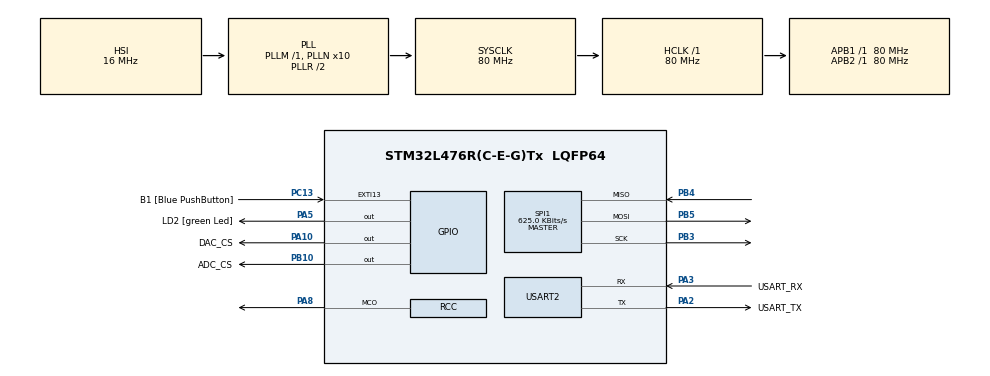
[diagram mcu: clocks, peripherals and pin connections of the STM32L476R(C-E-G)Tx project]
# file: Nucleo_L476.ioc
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Dma.Request0=USART2_RX
Dma.Request1=USART2_TX
Dma.USART2_RX.0.Direction=DMA_PERIPH_TO_MEMORY
Dma.USART2_RX.0.Instance=DMA1_Channel6
Dma.USART2_RX.0.MemDataAlignment=DMA_MDATAALIGN_BYTE
Dma.USART2_RX.0.MemInc=DMA_MINC_ENABLE
Dma.USART2_RX.0.Mode=DMA_NORMAL
Dma.USART2_RX.0.PeriphDataAlignment=DMA_PDATAALIGN_BYTE
Dma.USART2_RX.0.PeriphInc=DMA_PINC_DISABLE
Dma.USART2_RX.0.Priority=DMA_PRIORITY_LOW
Dma.USART2_TX.1.Direction=DMA_MEMORY_TO_PERIPH
Dma.USART2_TX.1.Instance=DMA1_Channel7
Dma.USART2_TX.1.MemDataAlignment=DMA_MDATAALIGN_BYTE
Dma.USART2_TX.1.MemInc=DMA_MINC_ENABLE
Dma.USART2_TX.1.Mode=DMA_NORMAL
Dma.USART2_TX.1.PeriphDataAlignment=DMA_PDATAALIGN_BYTE
Dma.USART2_TX.1.PeriphInc=DMA_PINC_DISABLE
Dma.USART2_TX.1.Priority=DMA_PRIORITY_LOW
Mcu.Family=STM32L4
Mcu.Name=STM32L476R(C-E-G)Tx
Mcu.Package=LQFP64
NVIC.DMA1_Channel6_IRQn=true\:0\:0\:false\:false\:true\:false\:true\:true
NVIC.DMA1_Channel7_IRQn=true\:0\:0\:false\:false\:true\:false\:true\:true
NVIC.PriorityGroup=NVIC_PRIORITYGROUP_4
NVIC.SPI1_IRQn=true\:0\:0\:false\:false\:true\:true\:true\:true
NVIC.TIM1_TRG_COM_TIM17_IRQn=true\:15\:0\:false\:false\:true\:false\:true\:true
NVIC.TIM8_BRK_IRQn=true\:0\:0\:false\:false\:true\:true\:true\:true
NVIC.TIM8_CC_IRQn=true\:0\:0\:false\:false\:true\:true\:true\:true
NVIC.TIM8_TRG_COM_IRQn=true\:0\:0\:false\:false\:true\:true\:true\:true
NVIC.TIM8_UP_IRQn=true\:0\:0\:false\:false\:true\:true\:true\:true
NVIC.TimeBase=TIM1_TRG_COM_TIM17_IRQn
NVIC.TimeBaseIP=TIM17
NVIC.USART2_IRQn=true\:0\:0\:false\:false\:true\:true\:true\:true
PA10.GPIO_Label=DAC_CS
PA10.GPIO_ModeDefaultOutputPP=GPIO_MODE_OUTPUT_PP
PA10.GPIO_PuPd=GPIO_PULLUP
PA10.GPIO_Speed=GPIO_SPEED_FREQ_VERY_HIGH
PA10.PinState=GPIO_PIN_SET
PA10.Signal=GPIO_Output
PA13\ (JTMS-SWDIO).GPIO_Label=TMS
PA13\ (JTMS-SWDIO).Mode=Serial_Wire
PA13\ (JTMS-SWDIO).Signal=SYS_JTMS-SWDIO
PA14\ (JTCK-SWCLK).GPIO_Label=TCK
PA14\ (JTCK-SWCLK).Mode=Serial_Wire
PA14\ (JTCK-SWCLK).Signal=SYS_JTCK-SWCLK
PA2.GPIO_Label=USART_TX
PA2.GPIO_Mode=GPIO_MODE_AF_PP
PA2.GPIO_PuPd=GPIO_NOPULL
PA2.GPIO_Speed=GPIO_SPEED_FREQ_VERY_HIGH
PA2.Mode=Asynchronous
PA2.Signal=USART2_TX
PA3.GPIO_Label=USART_RX
PA3.GPIO_Mode=GPIO_MODE_AF_PP
PA3.GPIO_PuPd=GPIO_NOPULL
PA3.GPIO_Speed=GPIO_SPEED_FREQ_VERY_HIGH
PA3.Mode=Asynchronous
PA3.Signal=USART2_RX
PA5.GPIO_Label=LD2 [green Led]
PA5.GPIO_ModeDefaultOutputPP=GPIO_MODE_OUTPUT_PP
PA5.GPIO_PuPd=GPIO_NOPULL
PA5.GPIO_Speed=GPIO_SPEED_FREQ_LOW
PA5.Signal=GPIO_Output
PA8.GPIO_Speed=GPIO_SPEED_FREQ_VERY_HIGH
PA8.Mode=Clock-out
PA8.Signal=RCC_MCO
PB10.GPIO_Label=ADC_CS
PB10.GPIO_PuPd=GPIO_PULLUP
PB10.GPIO_Speed=GPIO_SPEED_FREQ_VERY_HIGH
PB10.PinState=GPIO_PIN_SET
PB10.Signal=GPIO_Output
PB3\ (JTDO-TRACESWO).Mode=Full_Duplex_Master
PB3\ (JTDO-TRACESWO).Signal=SPI1_SCK
PB4\ (NJTRST).Mode=Full_Duplex_Master
PB4\ (NJTRST).Signal=SPI1_MISO
PB5.Mode=Full_Duplex_Master
PB5.Signal=SPI1_MOSI
PC13.GPIO_Label=B1 [Blue PushButton]
PC13.GPIO_ModeDefaultEXTI=GPIO_MODE_IT_FALLING
PC13.GPIO_PuPd=GPIO_NOPULL
PC13.Signal=GPXTI13
PC14-OSC32_IN\ (PC14).Mode=LSE-External-Oscillator
PC14-OSC32_IN\ (PC14).Signal=RCC_OSC32_IN
PC15-OSC32_OUT\ (PC15).Mode=LSE-External-Oscillator
PC15-OSC32_OUT\ (PC15).Signal=RCC_OSC32_OUT
PH0-OSC_IN\ (PH0).Signal=RCC_OSC_IN
PH1-OSC_OUT\ (PH1).Signal=RCC_OSC_OUT
ProjectManager.HeapSize=0x200
ProjectManager.StackSize=0x400
ProjectManager.TargetToolchain=STM32CubeIDE
RCC.ADCFreq_Value=64000000
RCC.AHBFreq_Value=80000000
RCC.APB1Freq_Value=80000000
RCC.APB1TimFreq_Value=80000000
RCC.APB2Freq_Value=80000000
RCC.APB2TimFreq_Value=80000000
RCC.CK48CLockSelection=RCC_USBCLKSOURCE_MSI
RCC.CortexFreq_Value=80000000
RCC.HCLKFreq_Value=80000000
RCC.HSE_VALUE=8000000
RCC.HSI_VALUE=16000000
RCC.MSI_VALUE=4000000
RCC.PLLN=10
RCC.PLLSourceVirtual=RCC_PLLSOURCE_HSI
RCC.PREFETCH_ENABLE=1
RCC.RCC_MCO1Source=RCC_MCO1SOURCE_HSI
RCC.RCC_MCODiv=RCC_MCODIV_8
RCC.SYSCLKFreq_VALUE=80000000
RCC.SYSCLKSource=RCC_SYSCLKSOURCE_PLLCLK
RCC.USBFreq_Value=4000000
RCC.VCOOutputFreq_Value=160000000
SPI1.BaudRatePrescaler=SPI_BAUDRATEPRESCALER_128
SPI1.CLKPhase=SPI_PHASE_2EDGE
SPI1.CLKPolarity=SPI_POLARITY_HIGH
SPI1.CalculateBaudRate=625.0 KBits/s
SPI1.DataSize=SPI_DATASIZE_8BIT
SPI1.Direction=SPI_DIRECTION_2LINES
SPI1.Mode=SPI_MODE_MASTER
SPI1.VirtualType=VM_MASTER
TIM8.Period=1200-1
TIM8.Prescaler=80-1
USART2.VirtualMode-Asynchronous=VM_ASYNC
VP_CRC_VS_CRC.Mode=CRC_Activate
VP_RNG_VS_RNG.Mode=RNG_Activate
VP_SYS_VS_tim17.Mode=TIM17
VP_TIM8_VS_ClockSourceINT.Mode=Internal
board=NUCLEO-L476RG

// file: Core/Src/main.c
/* USER CODE BEGIN Header */
/**
  ******************************************************************************
  * @file           : main.c
  * @brief          : Main program body
  ******************************************************************************
  * @attention
  *
  * Copyright (c) 2025 STMicroelectronics.
  * All rights reserved.
  *
  * This software is licensed under terms that can be found in the LICENSE file
  * in the root directory of this software component.
  * If no LICENSE file comes with this software, it is provided AS-IS.
  *
  ******************************************************************************
  */
/* USER CODE END Header */
#include "main.h"

/* USER CODE BEGIN Includes */
#include "mcp3462.h"
#include "mcp4922.h"
#include "optics.h"
#include "logging.h"
#include <stdio.h>
#include <stdbool.h>
#include <string.h>
#include <util.h>
/* USER CODE END Includes */

/* USER CODE BEGIN PD */
#define BUFFER_SIZE 128

/* USER CODE END PD */

CRC_HandleTypeDef hcrc;

RNG_HandleTypeDef hrng;

SPI_HandleTypeDef hspi1;

TIM_HandleTypeDef htim8;

UART_HandleTypeDef huart2;
DMA_HandleTypeDef hdma_usart2_rx;
DMA_HandleTypeDef hdma_usart2_tx;

void SystemClock_Config(void);
static void MX_GPIO_Init(void);
static void MX_DMA_Init(void);
static void MX_USART2_UART_Init(void);
static void MX_SPI1_Init(void);
static void MX_CRC_Init(void);
static void MX_RNG_Init(void);
static void MX_TIM8_Init(void);

int main(void)
{

  /* USER CODE BEGIN 1 */
  uint16_t data_len;
  uint8_t* ptrBuffer;
  /* USER CODE END 1 */

  /* MCU Configuration--------------------------------------------------------*/

  /* Reset of all peripherals, Initializes the Flash interface and the Systick. */
  HAL_Init();

  /* Configure the system clock */
  SystemClock_Config();

  /* Initialize all configured peripherals */
  MX_GPIO_Init();
  MX_DMA_Init();
  MX_USART2_UART_Init();
  MX_SPI1_Init();
  MX_CRC_Init();
  MX_RNG_Init();
  MX_TIM8_Init();
  /* USER CODE BEGIN 2 */
  DWT_Init();
  init_dma_logging();
  printf("\033c");
  printf("MCP3462 Demo\r\n\r\n");
  printf("CPU Clock Frequency: %lu MHz\r\n", HAL_RCC_GetSysClockFreq() / 1000000);

  optics_init();
  optics_startLaser_byMask(1, 50);
  optics_clearBuffer_byMask(1);
  optics_adcStart(1);

  HAL_TIM_Base_Start_IT(&htim8);

  HAL_Delay(120);

  HAL_TIM_Base_Stop_IT(&htim8);

  optics_getBuffer_byMask(1, &ptrBuffer, &data_len);

  printf("\r\n=== ADC Sample Results ===\r\n");
  printf("Total bytes captured: %d\r\n", data_len);
  printf("Sample count: %d\r\n\r\n", data_len / 2);

  const float vref = 3.3f;  // External VREF voltage
  const int32_t adc_max = 32768;  // 2^15 for 16-bit signed

  for(int i = 0; i < data_len; i += 2)
  {
	  if (i + 1 < data_len) {
		  uint16_t sample = (ptrBuffer[i] << 8) | ptrBuffer[i+1];
		  int16_t signed_sample = (int16_t)sample;
		  float voltage = ((float)signed_sample * vref) / (float)adc_max;
		  printf("Sample %3d: 0x%04X (%6d) = %+7.4f V\r\n", i/2, sample, signed_sample, voltage);
	  }
  }

#if 0
  adc_handle.hspi = &hspi1;
  adc_handle.cs_port = ADC_CS_GPIO_Port;
  adc_handle.cs_pin = ADC_CS_Pin;
  adc_handle.dev_addr = 1;

  dac_handle.cs_port = DAC_CS_GPIO_Port;
  dac_handle.cs_pin = DAC_CS_Pin;
  dac_handle.ldac_port = NULL;
  dac_handle.ldac_pin = 0;
  dac_handle.shdn_port = NULL;
  dac_handle.shdn_pin = 0;
  dac_handle.vref_mV = 3300;
  dac_handle.hspi = &hspi1;

  HAL_StatusTypeDef st;

  MCP3462_Init(&adc_handle);
  MCP4922_Init(&dac_handle);

  // Initialize DAC to 0V
  st = MCP4922_WriteRaw(&dac_handle,
  					     0,
                         MCP4922_BUF_OFF,
                         MCP4922_GAIN_1X,
                         MCP4922_ACTIVE,
						 dac_value);
#endif

  /* USER CODE END 2 */

  /* Infinite loop */
  while (1)
  {

    /* USER CODE BEGIN 3 */

#if USE_ONE_SHOT
	// Start a new conversion in one-shot mode
	st = MCP3462_FastCommand(&adc_handle, MCP3462_FC_CONV_START);
	if (st != HAL_OK) {
		printf("Failed to start conversion\r\n");
		isADCEnabled = false;
	}
#endif

    HAL_GPIO_TogglePin(LD2_GPIO_Port, LD2_Pin);
    HAL_Delay(500);

#if 0
	// Optional: sweep DAC for testing differential input
	dac_value = (dac_value + 100) % 4096;
	st = MCP4922_WriteRaw(&dac_handle,
						 0,
						 MCP4922_BUF_OFF,
						 MCP4922_GAIN_1X,
						 MCP4922_ACTIVE,
						 dac_value);
#endif
  }
  /* USER CODE END 3 */
}

void SystemClock_Config(void)
{
  RCC_OscInitTypeDef RCC_OscInitStruct = {0};
  RCC_ClkInitTypeDef RCC_ClkInitStruct = {0};

  /** Configure the main internal regulator output voltage
  */
  if (HAL_PWREx_ControlVoltageScaling(PWR_REGULATOR_VOLTAGE_SCALE1) != HAL_OK)
  {
    Error_Handler();
  }

  /** Configure LSE Drive Capability
  */
  HAL_PWR_EnableBkUpAccess();
  __HAL_RCC_LSEDRIVE_CONFIG(RCC_LSEDRIVE_LOW);

  /** Initializes the RCC Oscillators according to the specified parameters
  * in the RCC_OscInitTypeDef structure.
  */
  RCC_OscInitStruct.OscillatorType = RCC_OSCILLATORTYPE_HSI|RCC_OSCILLATORTYPE_LSE
                              |RCC_OSCILLATORTYPE_MSI;
  RCC_OscInitStruct.LSEState = RCC_LSE_ON;
  RCC_OscInitStruct.HSIState = RCC_HSI_ON;
  RCC_OscInitStruct.HSICalibrationValue = RCC_HSICALIBRATION_DEFAULT;
  RCC_OscInitStruct.MSIState = RCC_MSI_ON;
  RCC_OscInitStruct.MSICalibrationValue = 0;
  RCC_OscInitStruct.MSIClockRange = RCC_MSIRANGE_6;
  RCC_OscInitStruct.PLL.PLLState = RCC_PLL_ON;
  RCC_OscInitStruct.PLL.PLLSource = RCC_PLLSOURCE_HSI;
  RCC_OscInitStruct.PLL.PLLM = 1;
  RCC_OscInitStruct.PLL.PLLN = 10;
  RCC_OscInitStruct.PLL.PLLP = RCC_PLLP_DIV7;
  RCC_OscInitStruct.PLL.PLLQ = RCC_PLLQ_DIV2;
  RCC_OscInitStruct.PLL.PLLR = RCC_PLLR_DIV2;
  if (HAL_RCC_OscConfig(&RCC_OscInitStruct) != HAL_OK)
  {
    Error_Handler();
  }

  /** Initializes the CPU, AHB and APB buses clocks
  */
  RCC_ClkInitStruct.ClockType = RCC_CLOCKTYPE_HCLK|RCC_CLOCKTYPE_SYSCLK
                              |RCC_CLOCKTYPE_PCLK1|RCC_CLOCKTYPE_PCLK2;
  RCC_ClkInitStruct.SYSCLKSource = RCC_SYSCLKSOURCE_PLLCLK;
  RCC_ClkInitStruct.AHBCLKDivider = RCC_SYSCLK_DIV1;
  RCC_ClkInitStruct.APB1CLKDivider = RCC_HCLK_DIV1;
  RCC_ClkInitStruct.APB2CLKDivider = RCC_HCLK_DIV1;

  if (HAL_RCC_ClockConfig(&RCC_ClkInitStruct, FLASH_LATENCY_4) != HAL_OK)
  {
    Error_Handler();
  }
  HAL_RCC_MCOConfig(RCC_MCO1, RCC_MCO1SOURCE_HSI, RCC_MCODIV_8);

  /** Enable MSI Auto calibration
  */
  HAL_RCCEx_EnableMSIPLLMode();
}

static void MX_CRC_Init(void)
{

  hcrc.Instance = CRC;
  hcrc.Init.DefaultPolynomialUse = DEFAULT_POLYNOMIAL_ENABLE;
  hcrc.Init.DefaultInitValueUse = DEFAULT_INIT_VALUE_ENABLE;
  hcrc.Init.InputDataInversionMode = CRC_INPUTDATA_INVERSION_NONE;
  hcrc.Init.OutputDataInversionMode = CRC_OUTPUTDATA_INVERSION_DISABLE;
  hcrc.InputDataFormat = CRC_INPUTDATA_FORMAT_BYTES;
  if (HAL_CRC_Init(&hcrc) != HAL_OK)
  {
    Error_Handler();
  }

}

static void MX_RNG_Init(void)
{

  hrng.Instance = RNG;
  if (HAL_RNG_Init(&hrng) != HAL_OK)
  {
    Error_Handler();
  }

}

static void MX_SPI1_Init(void)
{

  /* SPI1 parameter configuration*/
  hspi1.Instance = SPI1;
  hspi1.Init.Mode = SPI_MODE_MASTER;
  hspi1.Init.Direction = SPI_DIRECTION_2LINES;
  hspi1.Init.DataSize = SPI_DATASIZE_8BIT;
  hspi1.Init.CLKPolarity = SPI_POLARITY_HIGH;
  hspi1.Init.CLKPhase = SPI_PHASE_2EDGE;
  hspi1.Init.NSS = SPI_NSS_SOFT;
  hspi1.Init.BaudRatePrescaler = SPI_BAUDRATEPRESCALER_128;
  hspi1.Init.FirstBit = SPI_FIRSTBIT_MSB;
  hspi1.Init.TIMode = SPI_TIMODE_DISABLE;
  hspi1.Init.CRCCalculation = SPI_CRCCALCULATION_DISABLE;
  hspi1.Init.CRCPolynomial = 7;
  hspi1.Init.CRCLength = SPI_CRC_LENGTH_DATASIZE;
  hspi1.Init.NSSPMode = SPI_NSS_PULSE_DISABLE;
  if (HAL_SPI_Init(&hspi1) != HAL_OK)
  {
    Error_Handler();
  }

}

static void MX_TIM8_Init(void)
{

  TIM_ClockConfigTypeDef sClockSourceConfig = {0};
  TIM_MasterConfigTypeDef sMasterConfig = {0};

  htim8.Instance = TIM8;
  htim8.Init.Prescaler = 80-1;
  htim8.Init.CounterMode = TIM_COUNTERMODE_UP;
  htim8.Init.Period = 12000-1;
  htim8.Init.ClockDivision = TIM_CLOCKDIVISION_DIV1;
  htim8.Init.RepetitionCounter = 0;
  htim8.Init.AutoReloadPreload = TIM_AUTORELOAD_PRELOAD_DISABLE;
  if (HAL_TIM_Base_Init(&htim8) != HAL_OK)
  {
    Error_Handler();
  }
  sClockSourceConfig.ClockSource = TIM_CLOCKSOURCE_INTERNAL;
  if (HAL_TIM_ConfigClockSource(&htim8, &sClockSourceConfig) != HAL_OK)
  {
    Error_Handler();
  }
  sMasterConfig.MasterOutputTrigger = TIM_TRGO_RESET;
  sMasterConfig.MasterOutputTrigger2 = TIM_TRGO2_RESET;
  sMasterConfig.MasterSlaveMode = TIM_MASTERSLAVEMODE_DISABLE;
  if (HAL_TIMEx_MasterConfigSynchronization(&htim8, &sMasterConfig) != HAL_OK)
  {
    Error_Handler();
  }

}

static void MX_USART2_UART_Init(void)
{

  huart2.Instance = USART2;
  huart2.Init.BaudRate = 115200;
  huart2.Init.WordLength = UART_WORDLENGTH_8B;
  huart2.Init.StopBits = UART_STOPBITS_1;
  huart2.Init.Parity = UART_PARITY_NONE;
  huart2.Init.Mode = UART_MODE_TX_RX;
  huart2.Init.HwFlowCtl = UART_HWCONTROL_NONE;
  huart2.Init.OverSampling = UART_OVERSAMPLING_16;
  huart2.Init.OneBitSampling = UART_ONE_BIT_SAMPLE_DISABLE;
  huart2.AdvancedInit.AdvFeatureInit = UART_ADVFEATURE_NO_INIT;
  if (HAL_UART_Init(&huart2) != HAL_OK)
  {
    Error_Handler();
  }

}

static void MX_DMA_Init(void)
{

  /* DMA controller clock enable */
  __HAL_RCC_DMA1_CLK_ENABLE();

  /* DMA interrupt init */
  /* DMA1_Channel6_IRQn interrupt configuration */
  HAL_NVIC_SetPriority(DMA1_Channel6_IRQn, 0, 0);
  HAL_NVIC_EnableIRQ(DMA1_Channel6_IRQn);
  /* DMA1_Channel7_IRQn interrupt configuration */
  HAL_NVIC_SetPriority(DMA1_Channel7_IRQn, 0, 0);
  HAL_NVIC_EnableIRQ(DMA1_Channel7_IRQn);

}

static void MX_GPIO_Init(void)
{
  GPIO_InitTypeDef GPIO_InitStruct = {0};

  /* GPIO Ports Clock Enable */
  __HAL_RCC_GPIOC_CLK_ENABLE();
  __HAL_RCC_GPIOH_CLK_ENABLE();
  __HAL_RCC_GPIOA_CLK_ENABLE();
  __HAL_RCC_GPIOB_CLK_ENABLE();

  /*Configure GPIO pin Output Level */
  HAL_GPIO_WritePin(LD2_GPIO_Port, LD2_Pin, GPIO_PIN_RESET);

  /*Configure GPIO pin Output Level */
  HAL_GPIO_WritePin(ADC_CS_GPIO_Port, ADC_CS_Pin, GPIO_PIN_SET);

  /*Configure GPIO pin Output Level */
  HAL_GPIO_WritePin(DAC_CS_GPIO_Port, DAC_CS_Pin, GPIO_PIN_SET);

  /*Configure GPIO pin : B1_Pin */
  GPIO_InitStruct.Pin = B1_Pin;
  GPIO_InitStruct.Mode = GPIO_MODE_IT_FALLING;
  GPIO_InitStruct.Pull = GPIO_NOPULL;
  HAL_GPIO_Init(B1_GPIO_Port, &GPIO_InitStruct);

  /*Configure GPIO pin : LD2_Pin */
  GPIO_InitStruct.Pin = LD2_Pin;
  GPIO_InitStruct.Mode = GPIO_MODE_OUTPUT_PP;
  GPIO_InitStruct.Pull = GPIO_NOPULL;
  GPIO_InitStruct.Speed = GPIO_SPEED_FREQ_LOW;
  HAL_GPIO_Init(LD2_GPIO_Port, &GPIO_InitStruct);

  /*Configure GPIO pin : ADC_CS_Pin */
  GPIO_InitStruct.Pin = ADC_CS_Pin;
  GPIO_InitStruct.Mode = GPIO_MODE_OUTPUT_PP;
  GPIO_InitStruct.Pull = GPIO_PULLUP;
  GPIO_InitStruct.Speed = GPIO_SPEED_FREQ_VERY_HIGH;
  HAL_GPIO_Init(ADC_CS_GPIO_Port, &GPIO_InitStruct);

  /*Configure GPIO pin : PA8 */
  GPIO_InitStruct.Pin = GPIO_PIN_8;
  GPIO_InitStruct.Mode = GPIO_MODE_AF_PP;
  GPIO_InitStruct.Pull = GPIO_NOPULL;
  GPIO_InitStruct.Speed = GPIO_SPEED_FREQ_VERY_HIGH;
  GPIO_InitStruct.Alternate = GPIO_AF0_MCO;
  HAL_GPIO_Init(GPIOA, &GPIO_InitStruct);

  /*Configure GPIO pin : DAC_CS_Pin */
  GPIO_InitStruct.Pin = DAC_CS_Pin;
  GPIO_InitStruct.Mode = GPIO_MODE_OUTPUT_PP;
  GPIO_InitStruct.Pull = GPIO_PULLUP;
  GPIO_InitStruct.Speed = GPIO_SPEED_FREQ_VERY_HIGH;
  HAL_GPIO_Init(DAC_CS_GPIO_Port, &GPIO_InitStruct);

}

/* USER CODE BEGIN 4 */
void HAL_UART_RxCpltCallback(UART_HandleTypeDef *huart)
{

}

void HAL_UART_TxCpltCallback(UART_HandleTypeDef *huart)
{
	if(huart->Instance == USART2)
	{
		logging_UART_TxCpltCallback(huart);
	}
}

/* USER CODE END 4 */

void HAL_TIM_PeriodElapsedCallback(TIM_HandleTypeDef *htim)
{
  if (htim->Instance == TIM17)
  {
    HAL_IncTick();
  }
  /* USER CODE BEGIN Callback 1 */

  if (htim->Instance == TIM8) {
	  optics_adcRead();
  }

  /* USER CODE END Callback 1 */
}

void Error_Handler(void)
{
  __disable_irq();
  while (1)
  {
  }
}
